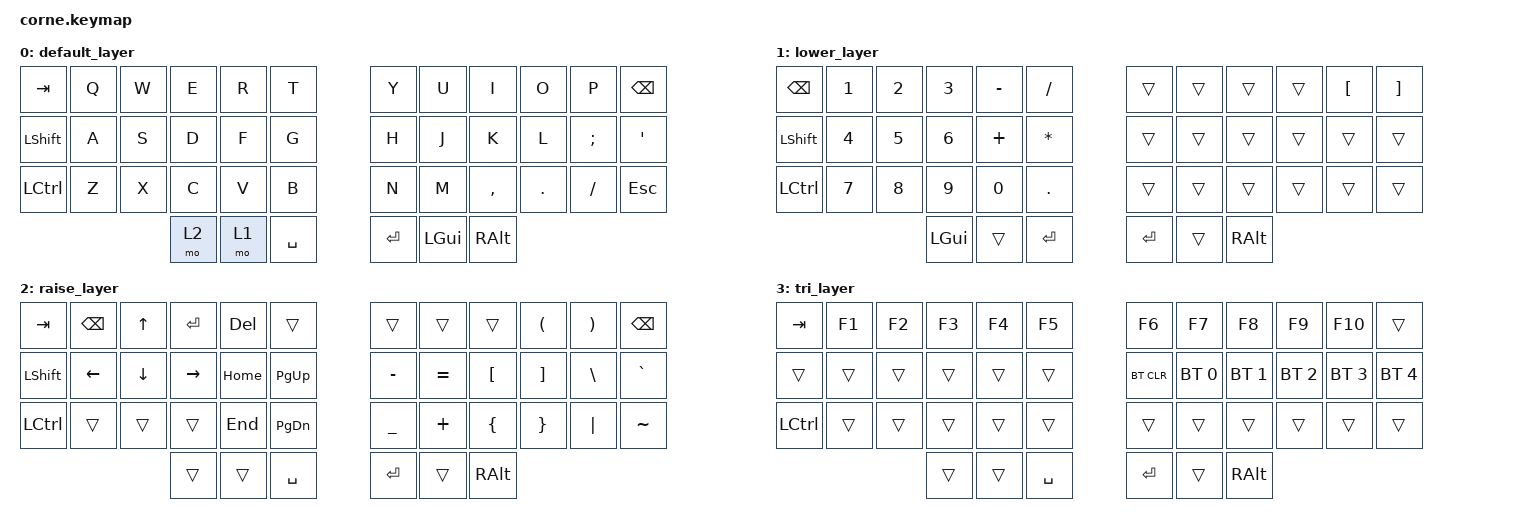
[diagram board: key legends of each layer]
/*
 * Copyright (c) 2020 The ZMK Contributors
 *
 * SPDX-License-Identifier: MIT
 */

#include <behaviors.dtsi>
#include <dt-bindings/zmk/keys.h>
#include <dt-bindings/zmk/bt.h>

/ {
        conditional_layers {
                compatible = "zmk,conditional-layers";
                tri_layer {
                        if-layers = <1 2>;
                        then-layer = <3>;
                }
        };

        keymap {
                compatible = "zmk,keymap";

                default_layer {
// -----------------------------------------------------------------------------------------
// |  TAB |  Q  |  W  |  E  |  R  |  T  |   |  Y  |  U   |  I  |  O  |  P  | BSPC |
// | SHFT |  A  |  S  |  D  |  F  |  G  |   |  H  |  J   |  K  |  L  |  ;  |  '   |
// | CTRL |  Z  |  X  |  C  |  V  |  B  |   |  N  |  M   |  ,  |  .  |  /  | ESC  |
//                    | RSE | LWR | SPC |   | ENT | GUI  | ALT |
                        bindings = <
   &kp TAB   &kp Q &kp W &kp E &kp R &kp T   &kp Y &kp U  &kp I     &kp O   &kp P    &kp BSPC
   &kp LSHFT &kp A &kp S &kp D &kp F &kp G   &kp H &kp J  &kp K     &kp L   &kp SEMI &kp SQT
   &kp LCTRL &kp Z &kp X &kp C &kp V &kp B   &kp N &kp M  &kp COMMA &kp DOT &kp FSLH &kp ESC
                     &mo 2 &mo 1 &kp SPACE   &kp RET &kp LGUI &kp RALT
                        >;
                };

                lower_layer {
// NUMPAD-LAYER-----------------------------------------------------------------------------
// | BSPC |  1  |  2  |  3  |  -  |  /  |   |     |     |     |     |  [  |  ]  |
// | SHFT |  4  |  5  |  6  |  +  |  *  |   |     |     |     |     |     |     |
// | CTRL |  7  |  8  |  9  |  0  |  .  |   |     |     |     |     |     |     |
//                  |  GUI  | mo  | ENT |   | ENT |     | ALT |
                        bindings = <
   &kp BSPC   &kp N1  &kp N2  &kp N3  &kp MINUS &kp FSLH       &trans  &trans &trans &trans &kp LBKT &kp RBKT
   &kp LSHFT  &kp N4  &kp N5  &kp N6  &kp PLUS  &kp ASTRK      &trans  &trans &trans &trans &trans   &trans
   &kp LCTRL  &kp N7  &kp N8  &kp N9  &kp N0    &kp DOT        &trans  &trans &trans &trans &trans   &trans
                              &kp LGUI &trans   &kp RET        &kp RET &trans &kp RALT
                        >;
                };

                raise_layer {
// -----------------------------------------------------------------------------------------
// |  TAB | BSPC|  UP  | RET | DEL |     |   |     |     |     |  (  |  )  | BSPC |
// | SHFT | LFT | DWN  | RGT |Home |PG_UP|   |  -  |  =  |  [  |  ]  |  \  |  `   |
// | CTRL |     |      |     | END |PG_DN|   |  _  |  +  |  {  |  }  | "|" |  ~   |
//                     | mo  |     | SPC |   | ENT |     | ALT |
                        bindings = <
   &kp  TAB  &kp BSPC &kp UP   &kp RET   &kp DEL  &trans         &trans    &trans    &trans    &kp LPAR &kp RPAR &kp BSPC
   &kp LSHFT &kp LEFT &kp DOWN &kp RIGHT &kp HOME &kp PG_UP      &kp MINUS &kp EQUAL &kp LBKT  &kp RBKT &kp BSLH &kp GRAVE
   &kp LCTRL &trans   &trans   &trans    &kp END  &kp PG_DN      &kp UNDER &kp PLUS  &kp LBRC  &kp RBRC &kp PIPE &kp TILDE
                               &trans    &trans   &kp SPACE      &kp RET   &trans    &kp RALT
                        >;
                };

                tri_layer {
// -----------------------------------------------------------------------------------------
// |  TAB |  F1  |  F2  |  F3  |  F4  |  F5  |   |  F6  |  F7  |  F8  |  F9  |  F10  |      |
// |      |      |      |      |      |      |   |BT_CLR| BT_0 | BT_1 | BT_2 | BT_3  | BT_4 |
// | CTRL |      |      |      |      |      |   |      |      |      |      |       |      |
//                      |  mo  |  mo  |  SPC |   | ENT  |      | ALT  |
                        bindings = <
   &kp  TAB  &kp F1 &kp F2 &kp F3 &kp F4 &kp F5   &kp F6 &kp F7  &kp F8 &kp F9 &kp F10 &trans
   &trans &trans &trans &trans &trans &trans      &bt BT_CLR &bt BT_SEL 0 &bt BT_SEL 1 &bt BT_SEL 2 &bt BT_SEL 3 &bt BT_SEL 4
   &kp LCTRL &trans &trans &trans   &trans      &trans &trans &trans  &trans  &trans &trans &trans
                           &trans   &trans   &kp SPACE   &kp RET   &trans    &kp RALT
                        >;
                };
        };
};
